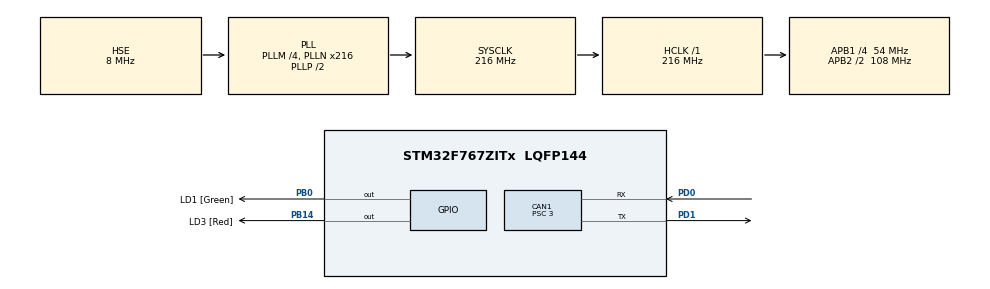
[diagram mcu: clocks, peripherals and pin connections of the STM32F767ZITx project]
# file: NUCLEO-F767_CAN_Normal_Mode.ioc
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CAN1.ABOM=ENABLE
CAN1.BS1=CAN_BS1_14TQ
CAN1.BS2=CAN_BS2_3TQ
CAN1.CalculateBaudRate=1000000
CAN1.CalculateTimeBit=1000
CAN1.CalculateTimeQuantum=55.55555555555556
CAN1.Mode=CAN_MODE_NORMAL
CAN1.NART=ENABLE
CAN1.Prescaler=3
Mcu.Family=STM32F7
Mcu.Name=STM32F767ZITx
Mcu.Package=LQFP144
NVIC.CAN1_RX0_IRQn=true\:0\:0\:false\:false\:true\:true\:true\:true
NVIC.CAN1_RX1_IRQn=true\:0\:0\:false\:false\:true\:true\:true\:true
NVIC.PriorityGroup=NVIC_PRIORITYGROUP_4
PB0.GPIO_Label=LD1 [Green]
PB0.GPIO_PuPd=GPIO_NOPULL
PB0.Signal=GPIO_Output
PB14.GPIO_Label=LD3 [Red]
PB14.Signal=GPIO_Output
PD0.GPIO_PuPd=GPIO_NOPULL
PD0.GPIO_Speed=GPIO_SPEED_FREQ_MEDIUM
PD0.Mode=CAN_Activate
PD0.Signal=CAN1_RX
PD1.GPIO_Speed=GPIO_SPEED_FREQ_MEDIUM
PD1.Mode=CAN_Activate
PD1.Signal=CAN1_TX
PH0/OSC_IN.Mode=HSE-External-Clock-Source
PH0/OSC_IN.Signal=RCC_OSC_IN
PH1/OSC_OUT.Mode=HSE-External-Clock-Source
PH1/OSC_OUT.Signal=RCC_OSC_OUT
ProjectManager.HeapSize=0x200
ProjectManager.StackSize=0x400
ProjectManager.TargetToolchain=STM32CubeIDE
RCC.48MHZClocksFreq_Value=24000000
RCC.AHBFreq_Value=216000000
RCC.APB1CLKDivider=RCC_HCLK_DIV4
RCC.APB1Freq_Value=54000000
RCC.APB1TimFreq_Value=108000000
RCC.APB2CLKDivider=RCC_HCLK_DIV2
RCC.APB2Freq_Value=108000000
RCC.APB2TimFreq_Value=216000000
RCC.CortexFreq_Value=216000000
RCC.HCLKFreq_Value=216000000
RCC.HSE_VALUE=8000000
RCC.HSI_VALUE=16000000
RCC.LSE_VALUE=32768
RCC.PLLM=4
RCC.PLLMUL=RCC_PLL_MUL9
RCC.PLLN=216
RCC.PLLQ=9
RCC.PLLSourceVirtual=RCC_PLLSOURCE_HSE
RCC.PRESCALERUSB=RCC_USBCLKSOURCE_PLL_DIV1_5
RCC.SYSCLKFreq_VALUE=216000000
RCC.SYSCLKSource=RCC_SYSCLKSOURCE_PLLCLK
RCC.SYSCLKSourceVirtual=RCC_SYSCLKSOURCE_PLLCLK
RCC.USBFreq_Value=48000000
RCC.VCOOutputFreq_Value=432000000
board=NUCLEO-F767ZI

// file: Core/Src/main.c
/* USER CODE BEGIN Header */
/**
  ******************************************************************************
  * @file           : main.c
  * @brief          : Main program body
  ******************************************************************************
  * @attention
  *
  * Copyright (c) 2025 STMicroelectronics.
  * All rights reserved.
  *
  * This software is licensed under terms that can be found in the LICENSE file
  * in the root directory of this software component.
  * If no LICENSE file comes with this software, it is provided AS-IS.
  *
  ******************************************************************************
  */
/* USER CODE END Header */
#include "main.h"

/* USER CODE BEGIN PD */
#define STM32_FAMILY_ID 0xF7                     /* For STM32F7 devices */
#define BOARD_ID        0x0                      /* BOARD_ID: from 0 to 7: Device number if two
                                                    boards using STM32F7, need to select another value (1 to 7) */
#define TX_ID  ((BOARD_ID<<8) | STM32_FAMILY_ID) /* TX ID to send is a format of 0xXF7, where X is the board ID */
/* USER CODE END PD */

CAN_HandleTypeDef hcan1;

/* USER CODE BEGIN PV */
uint32_t              TxMailbox;       /* The number of the mail box that transmitted the Tx message */
CAN_TxHeaderTypeDef   TxHeader;        /* Header containing the information of the transmitted frame */
uint8_t               TxData[8] = {0}; /* Buffer of the data to send */

CAN_RxHeaderTypeDef   RxHeaderFIFO0;   /* Header containing the information of the received frame */
CAN_RxHeaderTypeDef   RxHeaderFIFO1;   /* Header containing the information of the received frame */
uint8_t               RxDataFIFO0[8];  /* Buffer of the received data */
uint8_t               RxDataFIFO1[8];  /* Buffer of the received data */
__IO uint32_t         rx_f0_std = 0;   /* Contains the number of standard frames received from a STM32F0 MCU */
__IO uint32_t         rx_f0_ext = 0;   /* Contains the number of extended frames received from a STM32F0 MCU */
__IO uint32_t         rx_f1_std = 0;   /* Contains the number of standard frames received from a STM32F1 MCU */
__IO uint32_t         rx_f1_ext = 0;   /* Contains the number of extended frames received from a STM32F1 MCU */
__IO uint32_t         rx_f2_std = 0;   /* Contains the number of standard frames received from a STM32F2 MCU */
__IO uint32_t         rx_f2_ext = 0;   /* Contains the number of extended frames received from a STM32F2 MCU */
__IO uint32_t         rx_f3_std = 0;   /* Contains the number of standard frames received from a STM32F3 MCU */
__IO uint32_t         rx_f3_ext = 0;   /* Contains the number of extended frames received from a STM32F3 MCU */
__IO uint32_t         rx_f4_std = 0;   /* Contains the number of standard frames received from a STM32F4 MCU */
__IO uint32_t         rx_f4_ext = 0;   /* Contains the number of extended frames received from a STM32F4 MCU */
/* USER CODE END PV */

void SystemClock_Config(void);
static void MX_GPIO_Init(void);
static void MX_CAN1_Init(void);

int main(void)
{

  /* MCU Configuration--------------------------------------------------------*/

  /* Reset of all peripherals, Initializes the Flash interface and the Systick. */
  HAL_Init();

  /* Configure the system clock */
  SystemClock_Config();

  /* Initialize all configured peripherals */
  MX_GPIO_Init();
  MX_CAN1_Init();
  /* USER CODE BEGIN 2 */
  TxHeader.StdId = TX_ID;              /* The ID value in Standard ID format (11bit) */
  TxHeader.ExtId = TX_ID | 0x10000000; /* The ID value in Extended ID format (29bit) */
  TxHeader.RTR = CAN_RTR_DATA;         /* The frames that will be sent are Data */
  TxHeader.DLC = 8;                    /* The frames will contain 8 data bytes */
  TxHeader.TransmitGlobalTime = DISABLE;

  /* Only the first byte (data0) and the last byte (data7) will be changed */
  TxData[0] = 0;                       /* The first value to send on byte 0 is 0 */
  TxData[7] = 0xFF;                    /* The last value to send on byte 0 is 0xFF */
  /* USER CODE END 2 */

  /* Infinite loop */
  /* USER CODE BEGIN WHILE */
  while (1)
  {
	  TxData[0] ++; /* Increment the first byte */
      TxData[7] --; /* Increment the last byte */

      /* It's mandatory to look for a free Tx mail box */
      while(HAL_CAN_GetTxMailboxesFreeLevel(&hcan1) == 0) {} /* Wait till a Tx mailbox is free. Using while loop instead of HAL_Delay() */

      if (HAL_CAN_AddTxMessage(&hcan1, &TxHeader, TxData, &TxMailbox) != HAL_OK) /* Send the CAN frame */
      {
          /* Transmission request Error */
          Error_Handler();
      }

      /* Toggle sending Standard and Extended ID for the next operation. The first ID sent is a Standard ID frame */
      TxHeader.IDE ^= CAN_ID_EXT;
      HAL_Delay(1);
    /* USER CODE END WHILE */

  }
}

void SystemClock_Config(void)
{
  RCC_OscInitTypeDef RCC_OscInitStruct = {0};
  RCC_ClkInitTypeDef RCC_ClkInitStruct = {0};

  /** Configure the main internal regulator output voltage
  */
  __HAL_RCC_PWR_CLK_ENABLE();
  __HAL_PWR_VOLTAGESCALING_CONFIG(PWR_REGULATOR_VOLTAGE_SCALE1);

  /** Initializes the RCC Oscillators according to the specified parameters
  * in the RCC_OscInitTypeDef structure.
  */
  RCC_OscInitStruct.OscillatorType = RCC_OSCILLATORTYPE_HSE;
  RCC_OscInitStruct.HSEState = RCC_HSE_BYPASS;
  RCC_OscInitStruct.PLL.PLLState = RCC_PLL_ON;
  RCC_OscInitStruct.PLL.PLLSource = RCC_PLLSOURCE_HSE;
  RCC_OscInitStruct.PLL.PLLM = 4;
  RCC_OscInitStruct.PLL.PLLN = 216;
  RCC_OscInitStruct.PLL.PLLP = RCC_PLLP_DIV2;
  RCC_OscInitStruct.PLL.PLLQ = 9;
  RCC_OscInitStruct.PLL.PLLR = 2;
  if (HAL_RCC_OscConfig(&RCC_OscInitStruct) != HAL_OK)
  {
    Error_Handler();
  }

  /** Activate the Over-Drive mode
  */
  if (HAL_PWREx_EnableOverDrive() != HAL_OK)
  {
    Error_Handler();
  }

  /** Initializes the CPU, AHB and APB buses clocks
  */
  RCC_ClkInitStruct.ClockType = RCC_CLOCKTYPE_HCLK|RCC_CLOCKTYPE_SYSCLK
                              |RCC_CLOCKTYPE_PCLK1|RCC_CLOCKTYPE_PCLK2;
  RCC_ClkInitStruct.SYSCLKSource = RCC_SYSCLKSOURCE_PLLCLK;
  RCC_ClkInitStruct.AHBCLKDivider = RCC_SYSCLK_DIV1;
  RCC_ClkInitStruct.APB1CLKDivider = RCC_HCLK_DIV4;
  RCC_ClkInitStruct.APB2CLKDivider = RCC_HCLK_DIV2;

  if (HAL_RCC_ClockConfig(&RCC_ClkInitStruct, FLASH_LATENCY_7) != HAL_OK)
  {
    Error_Handler();
  }
}

static void MX_CAN1_Init(void)
{

  /* USER CODE BEGIN CAN1_Init 0 */
  CAN_FilterTypeDef  sFilterConfig;
  /* USER CODE END CAN1_Init 0 */

  hcan1.Instance = CAN1;
  hcan1.Init.Prescaler = 3;
  hcan1.Init.Mode = CAN_MODE_NORMAL;
  hcan1.Init.SyncJumpWidth = CAN_SJW_1TQ;
  hcan1.Init.TimeSeg1 = CAN_BS1_14TQ;
  hcan1.Init.TimeSeg2 = CAN_BS2_3TQ;
  hcan1.Init.TimeTriggeredMode = DISABLE;
  hcan1.Init.AutoBusOff = ENABLE;
  hcan1.Init.AutoWakeUp = DISABLE;
  hcan1.Init.AutoRetransmission = ENABLE;
  hcan1.Init.ReceiveFifoLocked = DISABLE;
  hcan1.Init.TransmitFifoPriority = DISABLE;
  if (HAL_CAN_Init(&hcan1) != HAL_OK)
  {
    Error_Handler();
  }
  /* USER CODE BEGIN CAN1_Init 2 */
  /* The filter configuration */
  sFilterConfig.SlaveStartFilterBank = 14;           /* Slave start bank Set only once. */

  /* The CAN filter configuration */
  sFilterConfig.FilterBank = 0;                      /* Select the filter number 0 */
  sFilterConfig.FilterMode = CAN_FILTERMODE_IDMASK;  /* Using ID mask mode .. */
  sFilterConfig.FilterScale = CAN_FILTERSCALE_32BIT; /* .. in 32-bit scale */
  sFilterConfig.FilterIdHigh = 0x0000;
  sFilterConfig.FilterIdLow = 0x0000;                /* The filter is set to receive only the Standard ID frames */
  sFilterConfig.FilterMaskIdHigh = 0x0000;           /* Accept all the IDs .. except the Extended frames */
  sFilterConfig.FilterMaskIdLow = 0x0004;            /* The filter is set to check only on the ID format */
  sFilterConfig.FilterFIFOAssignment = CAN_RX_FIFO0; /* All the messages accepted by this filter will be received on FIFO1 */
  sFilterConfig.FilterActivation = ENABLE;           /* Enable the filter number 0 */
  if (HAL_CAN_ConfigFilter(&hcan1, &sFilterConfig) != HAL_OK)
  {
      /* Filter configuration Error */
      Error_Handler();
  }

  sFilterConfig.FilterBank = 1;                      /* Select the filter number 1 */
  sFilterConfig.FilterMode = CAN_FILTERMODE_IDMASK;  /* Using ID mask mode .. */
  sFilterConfig.FilterScale = CAN_FILTERSCALE_32BIT; /* .. in 32-bit scale */
  sFilterConfig.FilterIdHigh = 0x0000;
  sFilterConfig.FilterIdLow = 0x0004;                /* The filter is set to receive only the Extended ID frames */
  sFilterConfig.FilterMaskIdHigh = 0x0000;           /* Accept all the IDs .. except the Standard frames */
  sFilterConfig.FilterMaskIdLow = 0x0004;            /* The filter is set to check only on the ID format */
  sFilterConfig.FilterFIFOAssignment = CAN_RX_FIFO1; /* All the messages accepted by this filter will be received on FIFO1 */
  sFilterConfig.FilterActivation = ENABLE;           /* Enable the filter number 1 */
  if (HAL_CAN_ConfigFilter(&hcan1, &sFilterConfig) != HAL_OK)
  {
      /* Filter configuration Error */
      Error_Handler();
  }

  /* Start the CAN peripheral */
  if (HAL_CAN_Start(&hcan1) != HAL_OK)
  {
      /* Start Error */
      Error_Handler();
  }

  /* Activate CAN RX notifications on FIFO0 and on FIFO1 */
  if (HAL_CAN_ActivateNotification(&hcan1, CAN_IT_RX_FIFO0_MSG_PENDING | CAN_IT_RX_FIFO1_MSG_PENDING) != HAL_OK)
  {
      /* Notification Error */
      Error_Handler();
  }
  /* USER CODE END CAN1_Init 2 */

}

static void MX_GPIO_Init(void)
{
  GPIO_InitTypeDef GPIO_InitStruct = {0};

  /* GPIO Ports Clock Enable */
  __HAL_RCC_GPIOH_CLK_ENABLE();
  __HAL_RCC_GPIOB_CLK_ENABLE();
  __HAL_RCC_GPIOD_CLK_ENABLE();

  /*Configure GPIO pin Output Level */
  HAL_GPIO_WritePin(GPIOB, LD1_Pin|LD3_Pin, GPIO_PIN_RESET);

  /*Configure GPIO pins : LD1_Pin LD3_Pin */
  GPIO_InitStruct.Pin = LD1_Pin|LD3_Pin;
  GPIO_InitStruct.Mode = GPIO_MODE_OUTPUT_PP;
  GPIO_InitStruct.Pull = GPIO_NOPULL;
  GPIO_InitStruct.Speed = GPIO_SPEED_FREQ_LOW;
  HAL_GPIO_Init(GPIOB, &GPIO_InitStruct);

}

/* USER CODE BEGIN 4 */
/* CAN callback of FIF00. It will be called each time FIF00 receives a frame.
  As a filter has been set to receive only Standard Id frames on FIFO0, This callback
  will be called only when the Standard ID frame is received */
void HAL_CAN_RxFifo0MsgPendingCallback(CAN_HandleTypeDef *CanHandle)
{
    /* Get RX message from FIFO0 and fill the data on the related FIFO0 user declared header
       (RxHeaderFIFO0) and table (RxDataFIFO0) */
    if (HAL_CAN_GetRxMessage(CanHandle, CAN_RX_FIFO0, &RxHeaderFIFO0, RxDataFIFO0) != HAL_OK)
    {
        /* Reception Error */
        Error_Handler();
    }
    else
    {
        /* Toggle the LED when a message is received. Note that the toggling is not seen as the
           transmit/receive of the frames are performed in a high frequency.
           If you need to see the LED toggling, you need to increase the delay that was called just after
		   HAL_CAN_AddTxMessage() from the sender side for example HAL_Delay(500) */
        HAL_GPIO_TogglePin(LD1_GPIO_Port, LD1_Pin);
    }

    if ((RxHeaderFIFO0.StdId & 0xFF) == 0xF0)
    {
        rx_f0_std++; /* Increment this if a standard CAN frame is received from the NUCLEO-F042 board */
    }
    else if ((RxHeaderFIFO0.StdId & 0xFF) == 0xF1)
    {
        rx_f1_std++; /* Increment this if a standard CAN frame is received from the NUCLEO-F103 board */
    }
    else if ((RxHeaderFIFO0.StdId & 0xFF) == 0xF2)
    {
        rx_f2_std++; /* Increment this if a standard CAN frame is received from the NUCLEO-F207 board */
    }
    else if ((RxHeaderFIFO0.StdId & 0xFF) == 0xF3)
    {
    	rx_f3_std++; /* Increment this if a standard CAN frame is received from the NUCLEO-F302 board */
    }
    else if ((RxHeaderFIFO0.StdId & 0xFF) == 0xF4)
    {
    	rx_f4_std++; /* Increment this if a standard CAN frame is received from the NUCLEO-F439 board */
    }
}

/* CAN callback of FIF01. It will be called each time FIF01 receives a frame.
  As a filter has been set to receive only Extended ID frames on FIFO1, This callback
  will be called only when an Extended ID frame is received */
void HAL_CAN_RxFifo1MsgPendingCallback(CAN_HandleTypeDef *CanHandle)
{
    /* Get RX message from FIFO1 and fill the data on the related FIFO1 user declared header
       (RxHeaderFIFO1) and table (RxDataFIFO1) */
    if (HAL_CAN_GetRxMessage(CanHandle, CAN_RX_FIFO1, &RxHeaderFIFO1, RxDataFIFO1) != HAL_OK)
    {
        /* Reception Error */
        Error_Handler();
    }
    else
    {
        /* Toggle the LED when a message is received. Note that the toggling is not seen as the
           transmit/receive of the frames are performed in a high frequency.
           If you need to see the LED toggling, you need to increase the delay that was called just after
		   HAL_CAN_AddTxMessage() from the sender side for example HAL_Delay(500) */
        HAL_GPIO_TogglePin(LD1_GPIO_Port, LD1_Pin);
    }

    if ((RxHeaderFIFO1.ExtId & 0xFF) == 0xF0)
    {
        rx_f0_ext++; /* Increment this if an Extended CAN frame is received from the NUCLEO-F042 board */
    }
    else if ((RxHeaderFIFO1.ExtId & 0xFF) == 0xF1)
    {
        rx_f1_ext++; /* Increment this if an Extended CAN frame is received from the NUCLEO-F103 board */
    }
    else if ((RxHeaderFIFO1.ExtId & 0xFF) == 0xF2)
    {
    	rx_f2_ext++; /* Increment this if an Extended CAN frame is received from the NUCLEO-F207 board */
    }
    else if ((RxHeaderFIFO1.ExtId & 0xFF) == 0xF3)
    {
    	rx_f3_ext++; /* Increment this if an Extended CAN frame is received from the NUCLEO-F302 board */
    }
    else if ((RxHeaderFIFO1.ExtId & 0xFF) == 0xF4)
    {
    	rx_f4_ext++; /* Increment this if an Extended CAN frame is received from the NUCLEO-F439 board */
    }
}
/* USER CODE END 4 */

void Error_Handler(void)
{
  /* USER CODE BEGIN Error_Handler_Debug */
  /* User can add his own implementation to report the HAL error return state */
  __disable_irq();
  while (1)
  {
      HAL_GPIO_TogglePin(LD3_GPIO_Port, LD3_Pin);
      /* Use this delay instead of HAL_Delay() since the interrupts has been disabled */
      for(__IO uint32_t i = 0; i < 0xFFFFF; i++);
  }
  /* USER CODE END Error_Handler_Debug */
}
